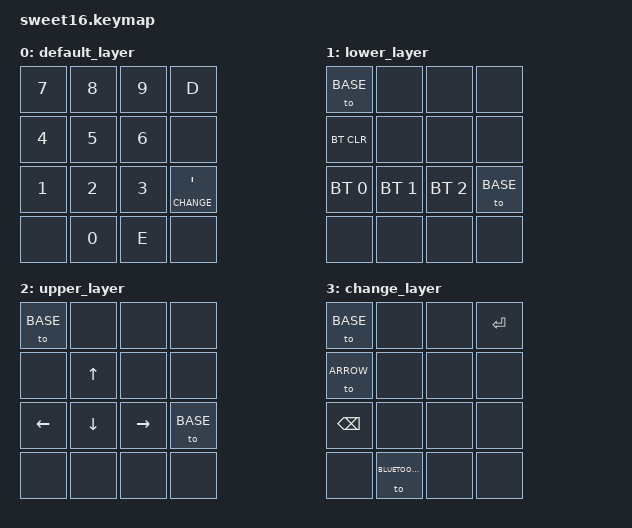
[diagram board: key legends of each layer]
/*
 * Copyright (c) 2022 The ZMK Contributors
 *
 * SPDX-License-Identifier: MIT
 */

#include <behaviors.dtsi>
#include <dt-bindings/zmk/keys.h>
#include <dt-bindings/zmk/bt.h>
#include <dt-bindings/zmk/rgb.h>
#define BASE 0
#define BLUETOOTH 1
#define ARROW 2
#define CHANGE 3

/ {
        keymap {
                compatible = "zmk,keymap";

                default_layer {
// --------------------------
// | 7 |  8  |  9  | e |
// | 4 |  5  |  6  |   |
// | 1 |  2  |  3  | - |
// |    0    |  .  |   |
                        bindings = <
   &kp N7 &kp N8    &kp N9  &kp D
   &kp N4 &kp N5    &kp N6  &none
   &kp N1 &kp N2    &kp N3  &lt CHANGE SINGLE_QUOTE
   &none  &kp N0    &kp E   &none
                        >;
                };

                lower_layer {
// ------------------------
// |BASE |     |     |     |
// |BTCLR|     |     |     |
// | BT1 | BT2 | BT3 |BASE |
// |     |     |     |     |
                        bindings = <
   &to BASE     &none        &none        &none
   &bt BT_CLR   &none        &none        &none 
   &bt BT_SEL 0 &bt BT_SEL 1 &bt BT_SEL 2 &to BASE
   &none        &none        &none        &none
                        >;
                };

                upper_layer {
// ------------------------
// |BASE |     |     |     |
// |     | UP  |     |     |
// |LEFT |DOWN |RIGHT|BASE |
// |     |     |     |     |
                        bindings = <
   &to BASE     &none        &none        &none
   &none        &kp UP       &none        &none 
   &kp LEFT     &kp DOWN     &kp RIGHT    &to BASE
   &none        &none        &none        &none 
                        >;
                };

                change_layer {
// ------------------------
// |BASE |     |     |ENTER|
// |ARROW|     |     |     |
// |BSPC |     |     |     |
// |    BT     |     |     |
                        bindings = <
   &to BASE     &none         &none        &kp ENTER
   &to ARROW    &none         &none        &none 
   &kp BSPC     &none         &none        &none 
   &none        &to BLUETOOTH &none        &none 
                        >;
                };
        };
};
